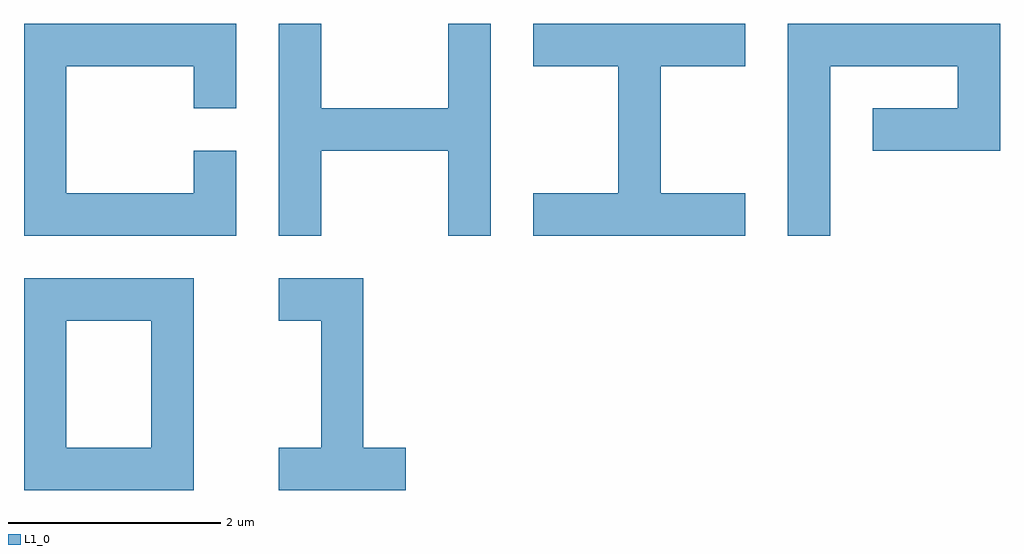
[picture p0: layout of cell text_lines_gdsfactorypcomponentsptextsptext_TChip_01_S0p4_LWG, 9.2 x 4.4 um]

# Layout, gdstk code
import gdstk
lib = gdstk.Library(unit=1e-6, precision=1e-09)
def P(c, l, *ps):  # polygons
    for p in ps: c.add(gdstk.Polygon(p, *l))
L1_0 = (1, 0)

text_rectangular_gdsfact = lib.new_cell('text_rectangular_gdsfactorypcomponentsptextsptext_recta_5b614243')
P(text_rectangular_gdsfact, L1_0, [(0,0),(0,2),(2,2),(2,1.2),(1.6,1.2),(1.6,1.6),(0.4,1.6),(0.4,0.4),(1.6,0.4),(1.6,0.8),(2,0.8),(2,0)],
  [(2.4,0),(2.4,2),(2.8,2),(2.8,1.2),(4,1.2),(4,2),(4.4,2),(4.4,0),(4,0),(4,0.8),(2.8,0.8),(2.8,0)],
  [(4.8,0),(4.8,0.4),(5.6,0.4),(5.6,1.6),(4.8,1.6),(4.8,2),(6.8,2),(6.8,1.6),(6,1.6),(6,0.4),(6.8,0.4),(6.8,0)],
  [(7.2,0),(7.2,2),(9.2,2),(9.2,0.8),(8,0.8),(8,1.2),(8.8,1.2),(8.8,1.6),(7.6,1.6),(7.6,0)])

c_text_rectangular_gdsfact = lib.new_cell('text_rectangular_gdsfactorypcomponentsptextsptext_recta_02ace194')
P(c_text_rectangular_gdsfact, L1_0, [(0,0),(0,1.6),(0.4,1.6),(0.4,0.4),(1.2,0.4),(1.2,1.6),(0,1.6),(0,2),(1.6,2),(1.6,0)],
  [(2.4,0),(2.4,0.4),(2.8,0.4),(2.8,1.6),(2.4,1.6),(2.4,2),(3.2,2),(3.2,0.4),(3.6,0.4),(3.6,0)])

text_lines_gdsfactorypco = lib.new_cell('text_lines_gdsfactorypcomponentsptextsptext_TChip_01_S0p4_LWG')
text_lines_gdsfactorypco.add(gdstk.Reference(text_rectangular_gdsfact, (0,-2.4)))
text_lines_gdsfactorypco.add(gdstk.Reference(c_text_rectangular_gdsfact, (0,-4.8)))

lib.write_gds('text_lines_gdsfactorypcomponentsptextsptext_TChip_01_S0p4_LWG.gds')
